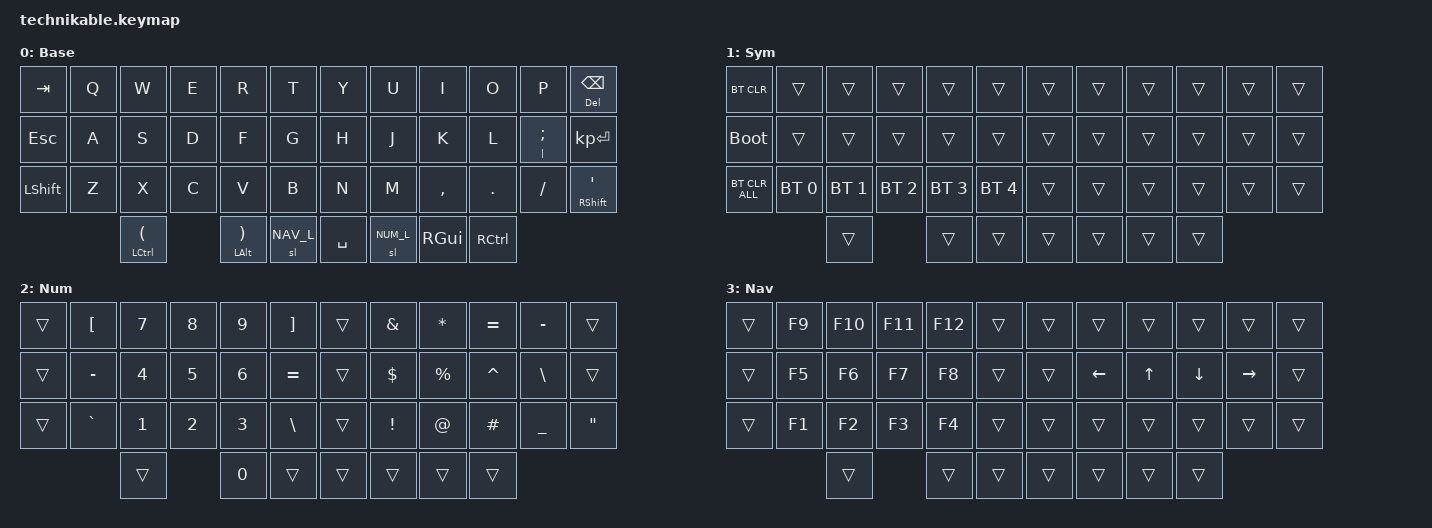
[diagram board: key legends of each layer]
/*
 * Copyright (c) 2022 Pete Johanson
 *
 * SPDX-License-Identifier: MIT
 */

#include <behaviors.dtsi>
#include <dt-bindings/zmk/bt.h>
#include <dt-bindings/zmk/keys.h>

#define BAS_L 0
#define SYM_L 1
#define NUM_L 2
#define NAV_L 3

// Using layer taps on thumbs, having quick tap as well helps w/ repeating space/backspace

&lt { quick_tap_ms = <200>; };

&mt {
};

/ {
    chosen { zmk,matrix_transform = &mit_transform; };

    conditional_layers {
        compatible = "zmk,conditional-layers";

        tri_layer {
            if-layers = <NAV_L NUM_L>;
            then-layer = <SYM_L>;
        };
    };

    keymap {
        compatible = "zmk,keymap";

        base_layer {
            label = "Base";
            bindings = <
&kp TAB    &kp Q  &kp W      &kp E     &kp R      &kp T        &kp Y      &kp U      &kp I      &kp O    &kp P          &mt DEL BACKSPACE
&kp ESC    &kp A  &kp S      &kp D     &kp F      &kp G        &kp H      &kp J      &kp K      &kp L    &mt PIPE SEMI  &kp KP_ENTER
&kp LSHFT  &kp Z  &kp X      &kp C     &kp V      &kp B        &kp N      &kp M      &kp COMMA  &kp DOT  &kp FSLH       &mt RSHFT SINGLE_QUOTE
                  &mt LCTRL LPAR       &mt LALT RPAR  &sl NAV_L  &kp SPACE    &sl NUM_L  &kp RGUI  &kp RCTRL
            >;
        };

        sym_layer {
            label = "Sym";
            bindings = <
&bt BT_CLR      &trans        &trans        &trans        &trans        &trans          &trans  &trans  &trans  &trans  &trans  &trans
&bootloader     &trans        &trans        &trans        &trans        &trans          &trans  &trans  &trans  &trans  &trans  &trans
&bt BT_CLR_ALL  &bt BT_SEL 0  &bt BT_SEL 1  &bt BT_SEL 2  &bt BT_SEL 3  &bt BT_SEL 4    &trans  &trans  &trans  &trans  &trans  &trans
                          &trans        &trans        &trans        &trans          &trans  &trans  &trans
            >;
        };

        num_layer {
            label = "Num";
            bindings = <
&trans      &kp LBKT   &kp N7    &kp N8  &kp N9    &kp RBKT     &trans      &kp AMPS  &kp STAR  &kp EQUAL  &kp MINUS  &trans
&trans      &kp MINUS  &kp N4    &kp N5  &kp N6    &kp EQUAL    &trans      &kp DLLR  &kp PRCNT &kp CARET  &kp BSLH   &trans
&trans      &kp GRAVE  &kp N1    &kp N2  &kp N3    &kp BSLH     &trans      &kp EXCL  &kp AT    &kp HASH   &kp UNDER  &kp DOUBLE_QUOTES
                   &trans    &kp N0  &trans    &trans       &trans      &trans  &trans
            >;
        };

        nav_layer {
            label = "Nav";
            bindings = <
&trans  &kp F9  &kp F10 &kp F11 &kp F12 &trans        &trans  &trans    &trans  &trans    &trans     &trans
&trans  &kp F5  &kp F6  &kp F7  &kp F8  &trans        &trans  &kp LEFT  &kp UP  &kp DOWN  &kp RIGHT  &trans
&trans  &kp F1  &kp F2  &kp F3  &kp F4  &trans        &trans  &trans    &trans  &trans    &trans     &trans
                   &trans     &trans  &trans      &trans          &trans  &trans  &trans
            >;
        };
    };
};
